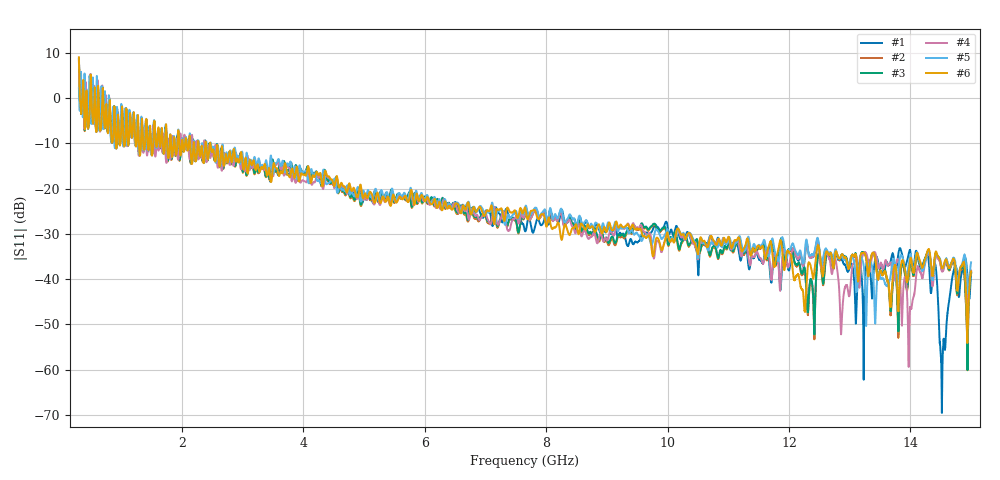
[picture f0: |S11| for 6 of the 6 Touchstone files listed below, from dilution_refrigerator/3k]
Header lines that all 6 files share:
# GHZ S RI R 50.0
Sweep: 300 MHz to 15 GHz
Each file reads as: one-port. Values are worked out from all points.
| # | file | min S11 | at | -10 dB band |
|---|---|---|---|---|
| 1 | port1_3k_repeat1.s1p | -69.6 dB | 14.52 GHz | over 12.54 GHz wide |
| 2 | port2_3k.s1p | -60.1 dB | 14.94 GHz | over 12.62 GHz wide |
| 3 | port2_3k_repeat1.s1p | -60.1 dB | 14.94 GHz | over 12.55 GHz wide |
| 4 | port4_3k.s1p | -59.4 dB | 13.97 GHz | over 12.63 GHz wide |
| 5 | port5_3k_repeat1.s1p | -50.4 dB | 13.27 GHz | over 12.53 GHz wide |
| 6 | port6_3k_repeat1.s1p | -54.1 dB | 14.94 GHz | over 12.53 GHz wide |
